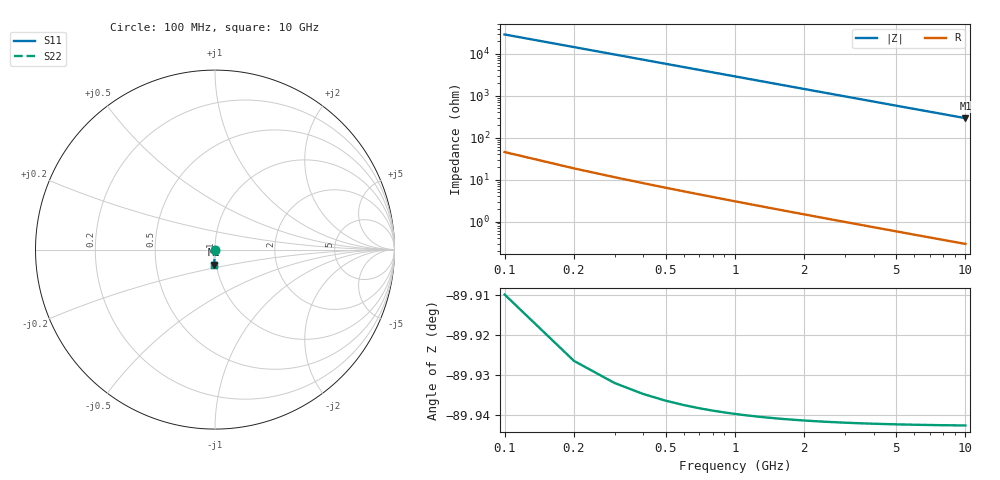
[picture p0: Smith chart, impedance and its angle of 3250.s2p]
# Hz S RI R 50.00
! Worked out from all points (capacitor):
!   100 points, 100 MHz to 10 GHz, reference 50 ohm
!   read as one part in shunt: C = 55.1 fF near 100 MHz
!   lowest |Z| = 292 ohm at 10 GHz (marker M1)
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1e8  -1.67e-06 -0.000865  1 -0.000868  1 -0.000868  -1.67e-06 -0.000865
2e8  -4.78e-06 -0.00173  1 -0.00174  1 -0.00174  -4.78e-06 -0.00173
3e8  -9.39e-06 -0.00259  1 -0.0026  1 -0.0026  -9.39e-06 -0.00259
4e8  -1.55e-05 -0.00346  1 -0.00347  1 -0.00347  -1.55e-05 -0.00346
5e8  -2.31e-05 -0.00432  1 -0.00434  1 -0.00434  -2.31e-05 -0.00432
6e8  -3.22e-05 -0.00519  1 -0.0052  1 -0.0052  -3.22e-05 -0.00519
7e8  -4.28e-05 -0.00605  1 -0.00607  1 -0.00607  -4.28e-05 -0.00605
8e8  -5.49e-05 -0.00692  0.9999 -0.00694  0.9999 -0.00694  -5.49e-05 -0.00692
9e8  -6.85e-05 -0.00778  0.9999 -0.0078  0.9999 -0.0078  -6.85e-05 -0.00778
1.1e9  -0.0001 -0.00951  0.9999 -0.00954  0.9999 -0.00954  -0.0001 -0.00951
1.4e9  -0.000159 -0.0121  0.9998 -0.0121  0.9998 -0.0121  -0.000159 -0.0121
1.8e9  -0.000258 -0.0155  0.9997 -0.0156  0.9997 -0.0156  -0.000258 -0.0155
2.1e9  -0.000348 -0.0181  0.9997 -0.0182  0.9997 -0.0182  -0.000348 -0.0181
2.5e9  -0.000488 -0.0216  0.9995 -0.0216  0.9995 -0.0216  -0.000488 -0.0216
2.9e9  -0.000652 -0.025  0.9993 -0.0251  0.9993 -0.0251  -0.000652 -0.025
3.4e9  -0.00089 -0.0293  0.9991 -0.0294  0.9991 -0.0294  -0.00089 -0.0293
4.2e9  -0.00135 -0.0361  0.9987 -0.0362  0.9987 -0.0362  -0.00135 -0.0361
5.1e9  -0.00197 -0.0438  0.998 -0.0439  0.998 -0.0439  -0.00197 -0.0438
5.9e9  -0.00262 -0.0505  0.9974 -0.0507  0.9974 -0.0507  -0.00262 -0.0505
6.7e9  -0.00336 -0.0573  0.9966 -0.0575  0.9966 -0.0575  -0.00336 -0.0573
8.4e9  -0.00523 -0.0715  0.9948 -0.0718  0.9948 -0.0718  -0.00523 -0.0715
1e10  -0.00736 -0.0848  0.9926 -0.0851  0.9926 -0.0851  -0.00736 -0.0848
